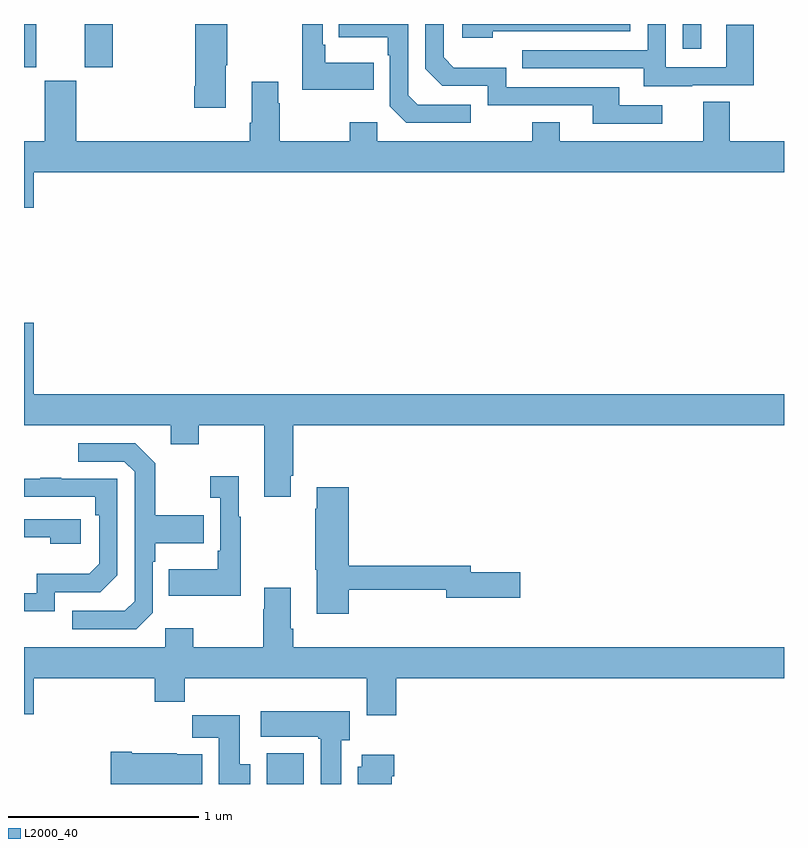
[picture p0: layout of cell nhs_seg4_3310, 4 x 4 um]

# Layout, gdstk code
import gdstk
lib = gdstk.Library(unit=1e-6, precision=1e-09)
def R(c, l, rs):  # rectangles x0, y0, x1, y1
    for r in rs: c.add(gdstk.rectangle(r[:2], r[2:], *l))
def P(c, l, *ps):  # polygons
    for p in ps: c.add(gdstk.Polygon(p, *l))
L2000_40 = (2000, 40)

nhs_seg4_3310 = lib.new_cell('nhs_seg4_3310')
R(nhs_seg4_3310, L2000_40, [(286.277,826.9,286.473,827.062), (285,830.673,285.064,830.9), (285.32,830.673,285.468,830.9), (288.468,830.769,288.565,830.9)])
P(nhs_seg4_3310, L2000_40, [(288.358,830.472),(288.133,830.472),(288.133,830.568),(287.538,830.568),(287.538,830.671),(287.261,830.671),(287.208,830.724),(287.208,830.9),(287.112,830.9),(287.112,830.664),(287.202,830.574),(287.442,830.574),(287.442,830.472),(287.993,830.472),(287.993,830.376),(288.358,830.376)],
  [(286.841,830.695),(286.585,830.695),(286.585,830.791),(286.572,830.791),(286.572,830.9),(286.464,830.9),(286.464,830.555),(286.841,830.555)],
  [(286.063,830.683),(286.071,830.683),(286.071,830.9),(285.901,830.9),(285.901,830.572),(285.896,830.572),(285.896,830.46),(286.063,830.46)],
  [(287.468,830.862),(288.192,830.862),(288.192,830.9),(287.307,830.9),(287.307,830.828),(287.468,830.828)],
  [(288.517,830.577),(288.841,830.577),(288.841,830.897),(288.696,830.897),(288.696,830.673),(288.378,830.673),(288.378,830.9),(288.282,830.9),(288.282,830.763),(287.623,830.763),(287.623,830.667),(288.263,830.667),(288.263,830.573),(288.517,830.573)],
  [(287.35,830.475),(287.073,830.475),(287.022,830.526),(287.022,830.9),(286.657,830.9),(286.657,830.831),(286.914,830.831),(286.914,830.735),(286.926,830.735),(286.926,830.466),(287.013,830.379),(287.35,830.379)],
  [(285.052,830.12),(289,830.12),(289,830.284),(288.715,830.284),(288.715,830.492),(288.575,830.492),(288.575,830.284),(287.821,830.284),(287.821,830.383),(287.674,830.383),(287.674,830.284),(286.86,830.284),(286.86,830.383),(286.714,830.383),(286.714,830.284),(286.347,830.284),(286.347,830.483),(286.339,830.483),(286.339,830.596),(286.199,830.596),(286.199,830.38),(286.187,830.38),(286.187,830.284),(285.274,830.284),(285.274,830.601),(285.11,830.601),(285.11,830.284),(285,830.284),(285,829.932),(285.052,829.932)],
  [(286.405,828.523),(286.418,828.523),(286.418,828.788),(289,828.788),(289,828.952),(285.052,828.952),(285.052,829.327),(285,829.327),(285,828.788),(285.773,828.788),(285.773,828.689),(285.921,828.689),(285.921,828.788),(286.265,828.788),(286.265,828.411),(286.405,828.411)],
  [(285.678,827.802),(285.678,828.071),(285.691,828.071),(285.691,828.167),(285.947,828.167),(285.947,828.315),(285.691,828.315),(285.691,828.587),(285.585,828.693),(285.285,828.693),(285.285,828.597),(285.528,828.597),(285.582,828.543),(285.582,827.862),(285.531,827.811),(285.255,827.811),(285.255,827.715),(285.591,827.715)],
  [(286.141,828.307),(286.129,828.307),(286.129,828.52),(285.981,828.52),(285.981,828.407),(286.032,828.407),(286.032,828.127),(286.02,828.127),(286.02,828.031),(285.763,828.031),(285.763,827.891),(286.141,827.891)],
  [(285.162,827.91),(285.402,827.91),(285.492,828),(285.492,828.507),(285.197,828.507),(285.197,828.512),(285.085,828.512),(285.085,828.507),(285,828.507),(285,828.411),(285.376,828.411),(285.376,828.314),(285.396,828.314),(285.396,828.06),(285.343,828.007),(285.066,828.007),(285.066,827.904),(285,827.904),(285,827.808),(285.162,827.808)],
  [(286.709,827.922),(287.222,827.922),(287.222,827.879),(287.611,827.879),(287.611,828.014),(287.35,828.014),(287.35,828.05),(286.709,828.05),(286.709,828.463),(286.541,828.463),(286.541,828.35),(286.534,828.35),(286.534,828.027),(286.541,828.027),(286.541,827.796),(286.709,827.796)],
  [(285.298,828.294),(285,828.294),(285,828.198),(285.137,828.198),(285.137,828.164),(285.298,828.164)],
  [(286.958,827.456),(289,827.456),(289,827.62),(286.418,827.62),(286.418,827.716),(286.405,827.716),(286.405,827.932),(286.265,827.932),(286.265,827.819),(286.258,827.819),(286.258,827.62),(285.891,827.62),(285.891,827.719),(285.744,827.719),(285.744,827.62),(285,827.62),(285,827.268),(285.052,827.268),(285.052,827.456),(285.689,827.456),(285.689,827.332),(285.845,827.332),(285.845,827.456),(286.805,827.456),(286.805,827.262),(286.958,827.262)],
  [(286.669,827.13),(286.714,827.13),(286.714,827.284),(286.245,827.284),(286.245,827.15),(286.549,827.15),(286.549,827.137),(286.562,827.137),(286.562,826.9),(286.669,826.9)],
  [(286.192,827.004),(286.135,827.004),(286.135,827.263),(285.886,827.263),(285.886,827.144),(286.025,827.144),(286.025,826.9),(286.192,826.9)],
  [(285.937,827.056),(285.804,827.056),(285.804,827.062),(285.568,827.062),(285.568,827.07),(285.456,827.07),(285.456,826.9),(285.937,826.9)],
  [(286.936,826.94),(286.949,826.94),(286.949,827.053),(286.778,827.053),(286.778,826.992),(286.757,826.992),(286.757,826.9),(286.936,826.9)])

lib.write_gds('nhs_seg4_3310.gds')
